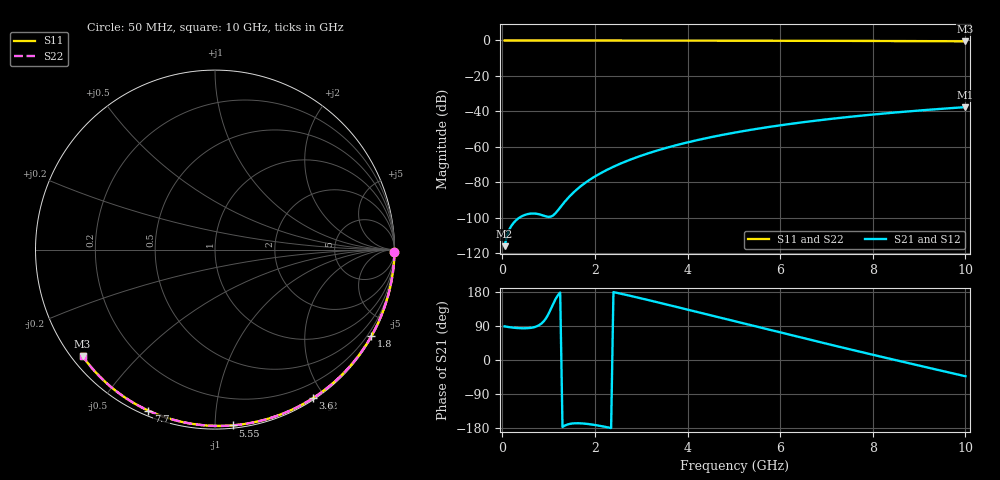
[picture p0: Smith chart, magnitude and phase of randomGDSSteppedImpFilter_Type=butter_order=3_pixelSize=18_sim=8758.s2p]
! freq	dB(S11)	phase(S11)	dB(S12)	phase(S12)
!  dB(S21)	phase(S21)	dB(S22)	phase(S22)
!S-par simulation data
#  GHz  S  DB  R 50
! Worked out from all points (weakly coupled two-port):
!   200 points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, 50 MHz to 10 GHz, reference 50 ohm
!   highest |S21| = -37.65 dB at 10 GHz (marker M1); lowest = -116.1 dB at 50 MHz (marker M2)
!   lowest |S11| = -0.5 dB at 10 GHz (marker M3), VSWR 36.44, Z = 1.54 - j17.6 ohm
!   |S11| at or under -10 dB: nowhere
!   |S22| runs from -0.5 to 0.0 dB; largest |S21 - S12| = 0
!   S11 on the Smith chart (normalised r, x): 50 MHz: open; 1.8 GHz: 0.03, -3.87; 3.6 GHz: 0.02, -1.86; 5.55 GHz: 0.02, -1.10; 7.7 GHz: 0.02, -0.67; 10 GHz: 0.03, -0.35
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0.05  -0.00 -0.8  -116.13 88.8  -116.13 88.8  -0.00 -0.8
0.45  -0.01 -7.4  -98.88 83.7  -98.88 83.7  -0.01 -7.4
0.9  -0.02 -14.6  -98.97 102.8  -98.97 102.8  -0.02 -14.6
1.3  -0.03 -21.0  -92.61 -176.7  -92.61 -176.7  -0.03 -21.0
1.75  -0.04 -28.2  -81.16 -167.6  -81.16 -167.6  -0.04 -28.2
1.8  -0.04 -29.0  -80.20 -168.2  -80.20 -168.2  -0.04 -29.0
2.15  -0.04 -34.5  -74.56 -174.7  -74.56 -174.7  -0.04 -34.5
2.35  -0.05 -37.6  -71.91 -179.5  -71.91 -179.5  -0.05 -37.6
2.55  -0.05 -40.7  -69.54 175.2  -69.54 175.2  -0.05 -40.7
2.95  -0.06 -46.8  -65.49 164.1  -65.49 164.1  -0.06 -46.8
3.4  -0.07 -53.6  -61.71 150.9  -61.71 150.9  -0.07 -53.6
3.6  -0.08 -56.5  -60.22 144.9  -60.22 144.9  -0.08 -56.5
3.9  -0.08 -61.0  -58.18 135.9  -58.18 135.9  -0.08 -61.0
4.3  -0.09 -66.8  -55.75 123.9  -55.75 123.9  -0.09 -66.8
5.05  -0.12 -77.4  -51.87 101.2  -51.87 101.2  -0.12 -77.4
5.55  -0.14 -84.3  -49.68 86.1  -49.68 86.1  -0.14 -84.3
6.1  -0.16 -91.7  -47.54 69.6  -47.54 69.6  -0.16 -91.7
6.7  -0.19 -99.7  -45.49 51.8  -45.49 51.8  -0.19 -99.7
7.7  -0.26 -112.5  -42.59 22.5  -42.59 22.5  -0.26 -112.5
8.35  -0.31 -120.7  -40.98 3.8  -40.98 3.8  -0.31 -120.7
9.2  -0.39 -131.3  -39.14 -20.4  -39.14 -20.4  -0.39 -131.3
10  -0.48 -141.2  -37.65 -42.9  -37.65 -42.9  -0.48 -141.2
